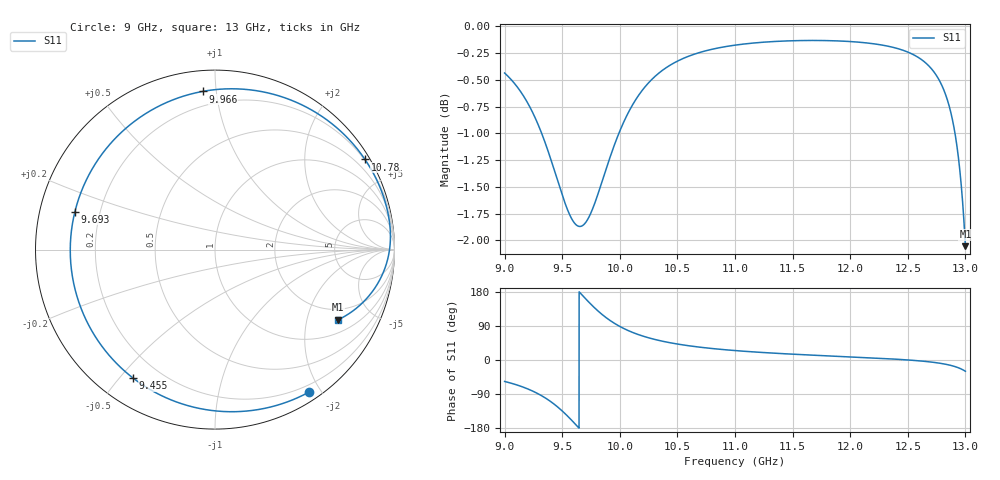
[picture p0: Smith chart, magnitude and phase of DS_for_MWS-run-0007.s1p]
! TOUCHSTONE file generated by CST DESIGN STUDIO
! Date and time: Tue Feb  4 17:14:00 2025
! Project name: C:\Work\MatlabApps\UnitCellOptimizationMatlab\CST\unitcell.cst
! Tree item: Tasks\Sweep1\SPara1\S-Parameters
! Header version: 2024
! Port assignment regex: !\s*Touchstone port\s*([0-9]+)\s*=\s*(CST MWS port|CST DES external port|CST DES block port)\s*(.+)\s* \(\"(.*)\"\)(\s*mode\s*([0-9]+))?.*
! Touchstone port assignment:
! Touchstone port 1 = CST DES external port 1 ("")
# GHz S MA R 50
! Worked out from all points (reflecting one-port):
!   4001 points, 9 GHz to 13 GHz, reference 50 ohm
!   lowest |S11| = -2.1 dB at 13 GHz (marker M1), VSWR 8.50, Z = 74.8 - j155 ohm
!   phase of S11 starts at -57 deg and turns -333 deg over the sweep
!   S11 on the Smith chart (normalised r, x): 9 GHz: 0.11, -1.85; 9.455 GHz: 0.11, -0.54; 9.693 GHz: 0.11, +0.13; 9.966 GHz: 0.11, +0.92; 10.78 GHz: 0.18, +3.60; 13 GHz: 1.50, -3.11
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9  0.9511 -56.6
9.145  0.9313 -69.8
9.284  0.9016 -88.1
9.375  0.8752 -104.4
9.455  0.8488 -122.6
9.5  0.8342 -134.5
9.554  0.8191 -150.3
9.602  0.8099 -165.4
9.647  0.8064 179.9
9.693  0.8086 164.8
9.764  0.8218 142.7
9.828  0.8405 124.8
9.894  0.8619 108.9
9.966  0.8841 94.4
10  0.8935 88.6
10.107  0.9183 73.3
10.221  0.9373 61.1
10.35  0.952 50.9
10.5  0.9633 42.1
10.778  0.9751 31.0
11  0.98 24.9
11.5  0.9847 15.4
12  0.9838 8.2
12.5  0.9728 0.1
12.693  0.9571 -5.1
12.837  0.9263 -11.7
12.925  0.8804 -18.9
13  0.7895 -29.7
